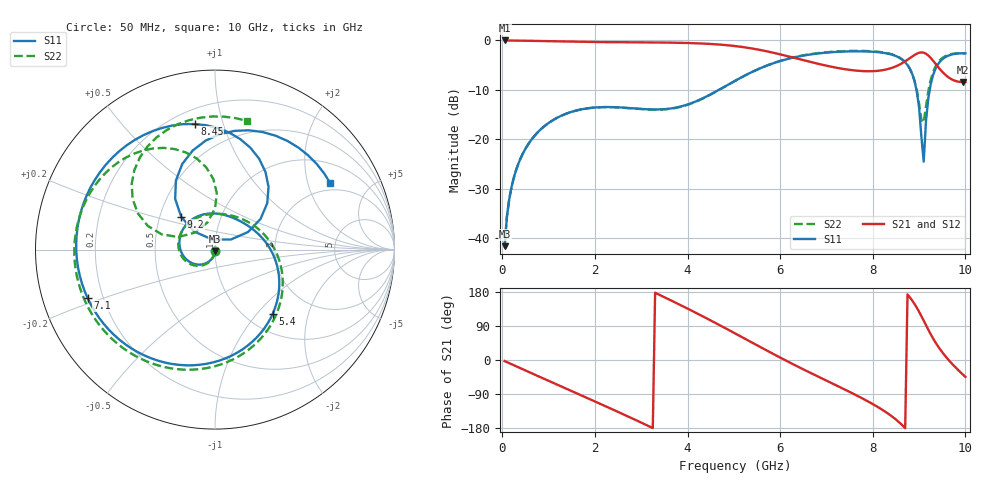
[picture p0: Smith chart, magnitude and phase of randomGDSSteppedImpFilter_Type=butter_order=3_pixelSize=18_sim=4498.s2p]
! freq	dB(S11)	phase(S11)	dB(S12)	phase(S12)
!  dB(S21)	phase(S21)	dB(S22)	phase(S22)
!S-par simulation data
#  GHz  S  DB  R 50
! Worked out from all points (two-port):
!   200 points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, 50 MHz to 10 GHz, reference 50 ohm
!   highest |S21| = -0.01 dB at 50 MHz (marker M1); lowest = -8.4 dB at 9.95 GHz (marker M2)
!   |S21| within 3 dB of the highest: start of sweep to 6.082 GHz; 8.891 GHz to 9.193 GHz (301.9 MHz wide, 3.34 % of centre)
!   lowest |S11| = -41.6 dB at 50 MHz (marker M3), VSWR 1.02, Z = 50 - j0.827 ohm
!   |S11| at or under -10 dB: start of sweep to 4.678 GHz; 8.943 GHz to 9.23 GHz (287.2 MHz wide, 3.16 % of centre)
!   |S22| runs from -41.6 to -2.1 dB; largest |S21 - S12| = 0
!   S11 on the Smith chart (normalised r, x): 50 MHz: 1.00, -0.02; 5.4 GHz: 1.31, -1.22; 7.1 GHz: 0.14, -0.18; 8.45 GHz: 0.29, +0.81; 9.2 GHz: 0.65, +0.25; 10 GHz: 1.69, +2.79
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0.05  -41.65 -91.3  -0.01 -2.8  -0.01 -2.8  -41.64 -91.0
0.2  -29.65 -101.4  -0.02 -11.1  -0.02 -11.1  -29.65 -100.4
0.5  -21.92 -119.2  -0.07 -27.6  -0.07 -27.6  -21.93 -116.7
1.15  -15.83 -156.9  -0.19 -63.1  -0.19 -63.1  -15.83 -150.8
1.75  -13.88 168.6  -0.30 -95.7  -0.30 -95.7  -13.88 178.4
2.65  -13.63 115.9  -0.37 -145.4  -0.37 -145.4  -13.65 131.7
3.4  -13.96 71.7  -0.42 171.6  -0.42 171.6  -14.01 89.9
4.3  -11.85 20.2  -0.62 117.1  -0.62 117.1  -11.90 32.0
5.05  -8.05 -25.3  -1.17 68.7  -1.17 68.7  -8.06 -19.0
5.4  -6.36 -48.0  -1.64 45.5  -1.64 45.5  -6.36 -42.4
6.1  -3.90 -94.4  -3.05 0.1  -3.05 0.1  -3.87 -87.1
6.7  -2.78 -133.4  -4.46 -36.6  -4.46 -36.6  -2.71 -122.3
7.1  -2.39 -159.2  -5.31 -60.3  -5.31 -60.3  -2.31 -144.5
7.75  -2.20 156.8  -6.19 -99.7  -6.19 -99.7  -2.12 179.5
8.35  -2.72 108.8  -5.74 -143.1  -5.74 -143.1  -2.66 141.6
8.45  -2.99 99.2  -5.43 -152.1  -5.43 -152.1  -2.93 134.0
8.9  -8.20 41.6  -2.95 148.1  -2.95 148.1  -8.10 91.3
9.1  -24.54 106.8  -2.48 103.9  -2.48 103.9  -16.62 140.4
9.2  -11.66 136.0  -3.06 79.8  -3.06 79.8  -10.23 164.1
9.55  -3.47 80.7  -6.81 12.7  -6.81 12.7  -3.26 123.2
9.95  -2.60 35.0  -8.43 -38.9  -8.43 -38.9  -2.60 81.1
10  -2.60 30.0  -8.39 -44.5  -8.39 -44.5  -2.63 76.2
